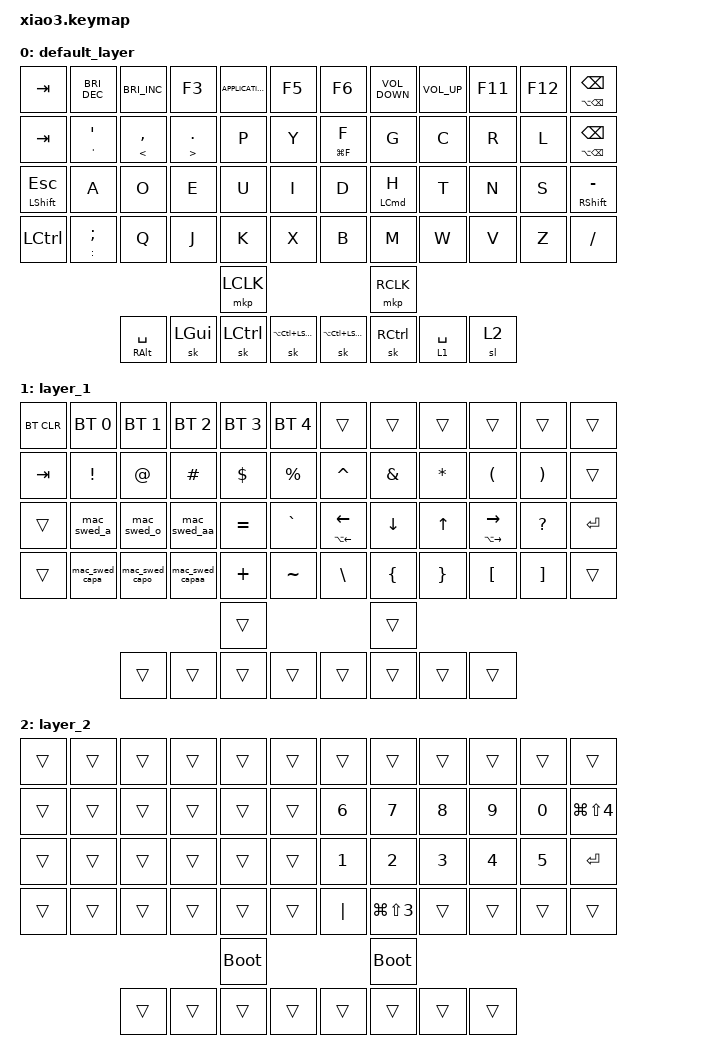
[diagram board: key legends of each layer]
/*
 * Copyright (c) 2020 The ZMK Contributors
 *
 * SPDX-License-Identifier: MIT
 */

#include <behaviors/mouse_keys.dtsi>
#include <behaviors.dtsi>
#include <dt-bindings/zmk/bt.h>
#include <dt-bindings/zmk/keys.h>
#include <dt-bindings/zmk/mouse.h>

/ {
    behaviors {
        hold_tap: hold_tap {
            compatible = "zmk,behavior-hold-tap";
            label = "HOLD_TAP";
            bindings = <&kp>, <&kp>;

            #binding-cells = <2>;
            tapping-term-ms = <200>;
            quick-tap-ms = <0>;
            flavor = "tap-preferred";
        };
    };

		macros {
			mac_swed_a: mac_swed_a {
					label = "mac_swed_a";
					compatible = "zmk,behavior-macro";
					#binding-cells = <0>;
					bindings = <&macro_tap>, <&kp RA(A)>;
			};

			mac_swed_o: mac_swed_o {
					label = "mac_swed_o";
					compatible = "zmk,behavior-macro";
					#binding-cells = <0>;
					bindings = <&macro_tap>, <&kp RA(U) &kp O>;
			};

			mac_swed_aa: mac_swed_aa {
					label = "mac_swed_aa";
					compatible = "zmk,behavior-macro";
					#binding-cells = <0>;
					bindings = <&macro_tap>, <&kp RA(U) &kp A>;
			};

			mac_swed_capa: mac_swed_capa {
					label = "mac_swed_capa";
					compatible = "zmk,behavior-macro";
					#binding-cells = <0>;
					bindings = <&macro_tap>, <&kp LS(RA(A))>;
			};

			mac_swed_capo: mac_swed_capo {
					label = "mac_swed_capo";
					compatible = "zmk,behavior-macro";
					#binding-cells = <0>;
					bindings = <&macro_tap>, <&kp RA(U) &kp LS(O)>;
			};

			mac_swed_capaa: mac_swed_capaa {
					label = "mac_swed_capaa";
					compatible = "zmk,behavior-macro";
					#binding-cells = <0>;
					bindings = <&macro_tap>, <&kp RA(U) &kp LS(A)>;
			};
    };

    keymap {
        compatible = "zmk,keymap";

        default_layer {
            bindings = <
&kp TAB     &kp C_BRIGHTNESS_DEC           &kp C_BRIGHTNESS_INC    &kp F3                   &kp K_APPLICATION  &kp F5                   &kp F6                       &kp C_VOLUME_DOWN          &kp C_VOLUME_UP      &kp F11 &kp F12 &mt LA(BACKSPACE) BACKSPACE
&kp TAB     &mt SINGLE_QUOTE SINGLE_QUOTE  &mt LESS_THAN COMMA          &mt GREATER_THAN PERIOD  &kp P     		    &kp Y                    &mt LG(F) F                  &kp G           &kp C      &kp R   &kp L   &mt LA(BACKSPACE) BACKSPACE
&mt LEFT_SHIFT ESCAPE  &kp A               &kp O                        &kp E                    &kp U              &kp I          		     &kp D                        &hold_tap LEFT_COMMAND H   &kp T        &kp N   &kp S   &mt RIGHT_SHIFT MINUS
&kp LCTRL   &mt COLON SEMICOLON            &kp Q                        &kp J                    &kp K              &kp X                    &kp B                        &kp M           &kp W      &kp V   &kp Z   &kp SLASH
                                                                                                 &mkp LCLK		                             &mkp RCLK
                                           &mt RIGHT_ALT SPACE          &sk LEFT_GUI             &sk LCTRL          &sk LA(LC(LEFT_SHIFT))   &sk LA(LC(LEFT_SHIFT)) 	   &sk RCTRL    &lt 1 SPACE     &sl 2
            >;
        };

        layer_1 {
            bindings = <
&bt BT_CLR  &bt BT_SEL 0     &bt BT_SEL 1    &bt BT_SEL 2      &bt BT_SEL 3  &bt BT_SEL 4    &trans                         &trans          &trans           &trans                           &trans                 &trans
&kp TAB     &kp EXCLAMATION  &kp AT_SIGN     &kp HASH      		 &kp DOLLAR    &kp PERCENT     &kp CARET                      &kp AMPERSAND   &kp ASTERISK     &kp LEFT_PARENTHESIS             &kp RIGHT_PARENTHESIS  &trans
&trans      &mac_swed_a			 &mac_swed_o	   &mac_swed_aa  		 &kp EQUAL     &kp GRAVE       &mt LA(LEFT_ARROW) LEFT_ARROW  &kp DOWN_ARROW  &kp UP_ARROW     &mt LA(RIGHT_ARROW) RIGHT_ARROW  &kp QUESTION           &kp ENTER
&trans      &mac_swed_capa   &mac_swed_capo  &mac_swed_capaa   &kp PLUS      &kp TILDE       &kp BACKSLASH  								&kp LEFT_BRACE  &kp RIGHT_BRACE  &kp LEFT_BRACKET  								&kp RIGHT_BRACKET  		 &trans
                                                         			 &trans                                                       &trans
                             &trans        	 &trans        		 &trans        &trans          &trans                         &trans          &trans        	 &trans
            >;
        };

        layer_2 {
            bindings = <
&trans       &trans  &trans  &trans  &trans       &trans    &trans         &trans          						&trans           &trans            &trans             &trans
&trans       &trans  &trans  &trans  &trans       &trans    &kp N6   			 &kp N7          						&kp N8           &kp N9            &kp N0             &kp LG(LS(N4))
&trans       &trans  &trans  &trans  &trans       &trans    &kp N1   			 &kp N2    									&kp N3     			 &kp N4      			 &kp N5             &kp ENTER
&trans  &trans  &trans  &trans  &trans       &trans    &kp PIPE  		 &kp LG(LS(NUMBER_3))  		 	&trans  		 		 &trans  		 			 &trans  					  &trans
                                     &bootloader                           &bootloader
                     &trans  &trans  &trans       &trans    &trans         &trans          						&trans           &trans
            >;
        };
    };
};
